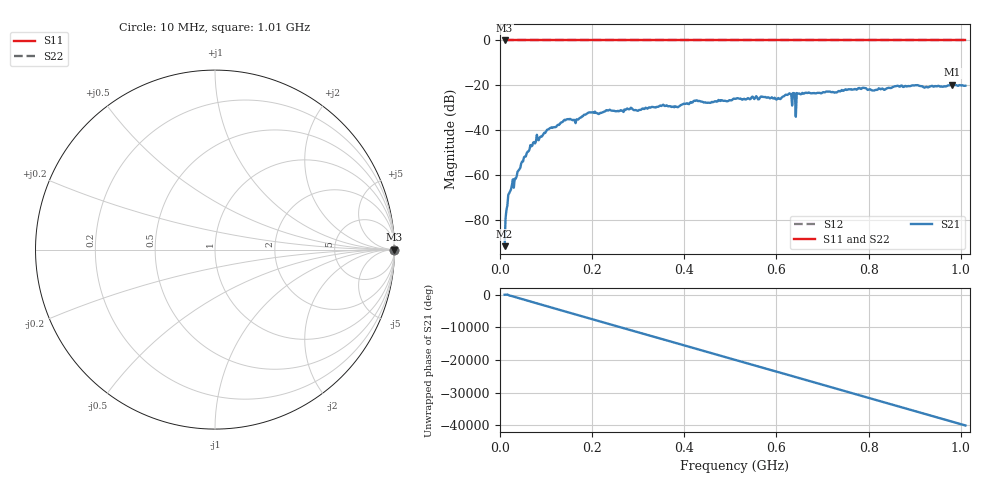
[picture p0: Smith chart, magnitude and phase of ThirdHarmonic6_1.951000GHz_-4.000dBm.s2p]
! 8/16/2025 11:29:21 PM
! C:\ANRITSUVNA\TEMP\TEMP.S2P
! CHANNEL.1
! TR.MEASUREMENT
! RAW.DATA
! RF.CORRECTION.OFF
! AVERAGING.OFF
! IF.BANDWIDTH: 5KHZ
! SWEEPTYPE:  FREQ.SWEEP(Linear)
! Reference Plane Port Info
! PORT:  PORT1  PORT2
! DISTANCE:  0  m  0  m
! TIME:  0  s  0  s
! PHASE.OFFSET:  0  deg.  0  deg.
! LOSS:  0  dB  0  dB
! REF.LOSS:  0  dB  0  dB
! REF.FREQ:  0  Hz  0  Hz
! Power Info
! POWER:  -20  dBm  -20  dBm
! EFF.POWER:  -20  dBm  -20  dBm
! SOURCE.ATTEN:  0  dB  0  dB
! TEST.ATTEN:  0  dB  0  dB
# GHZ S RI R 50.0
! FREQ.GHZ  S11RE  S11IM  S21RE  S21IM  S12RE  S12IM  S22RE  S22IM
!; PortSelection: Port_12
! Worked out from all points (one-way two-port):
!   501 points, 10 MHz to 1.01 GHz, reference 50 ohm
!   highest |S21| = -19.81 dB at 982 MHz (marker M1); lowest = -91.9 dB at 10 MHz (marker M2)
!   lowest |S11| = 0.0 dB at 10 MHz (marker M3)
!   |S11| at or under -10 dB: nowhere
!   |S22| runs from 0.0 to 0.0 dB; largest |S21 - S12| = 1.1
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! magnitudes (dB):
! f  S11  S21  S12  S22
! 10 MHz  0.0  -91.9  0.0  0.0
! 24 MHz  0.0  -66.4  0.0  0.0
! 50 MHz  0.0  -54.1  0.0  0.0
! 70 MHz  0.0  -47.0  0.0  0.0
! 108 MHz  0.0  -39.2  0.0  0.0
! 142 MHz  0.0  -35.6  0.0  0.0
! 166 MHz  0.0  -35.3  0.0  0.0
! 178 MHz  0.0  -33.9  0.0  0.0
! 196 MHz  0.0  -32.1  0.0  0.0
! 344 MHz  0.0  -29.6  0.0  0.0
! 382 MHz  0.0  -29.7  0.0  0.0
! 510 MHz  0.0  -26.1  0.0  0.0
! 604 MHz  0.0  -25.7  0.0  0.0
! 628 MHz  0.0  -23.6  0.0  0.0
! 636 MHz  0.0  -23.5  0.0  0.0
! 638 MHz  0.0  -23.5  0.0  0.0
! 646 MHz  0.0  -23.8  0.0  0.0
! 648 MHz  0.0  -23.7  0.0  0.0
! 678 MHz  0.0  -23.5  0.0  0.0
! 844 MHz  0.0  -21.1  0.0  0.0
! 982 MHz  0.0  -19.8  0.0  0.0
! 1.01 GHz  0.0  -20.2  0.0  0.0
